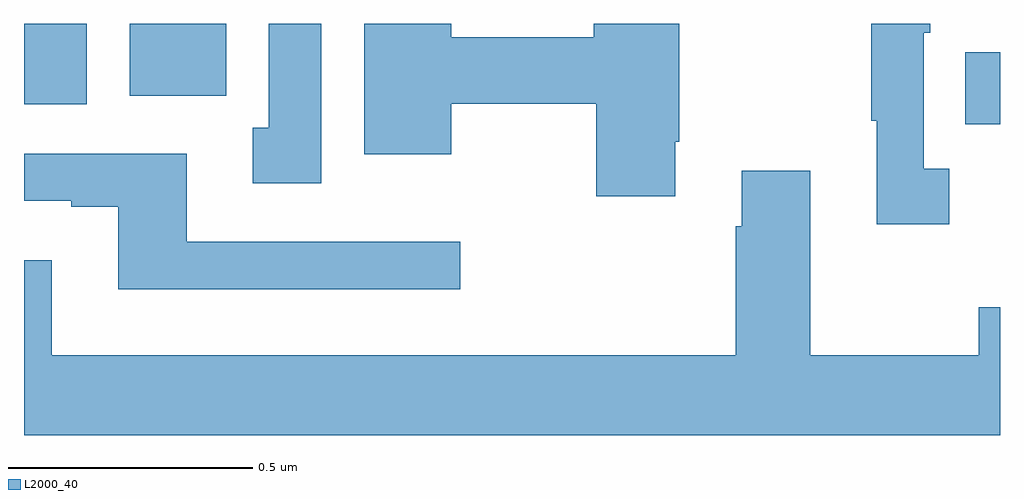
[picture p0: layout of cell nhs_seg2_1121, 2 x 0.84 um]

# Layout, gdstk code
import gdstk
lib = gdstk.Library(unit=1e-6, precision=1e-09)
def R(c, l, rs):  # rectangles x0, y0, x1, y1
    for r in rs: c.add(gdstk.rectangle(r[:2], r[2:], *l))
def P(c, l, *ps):  # polygons
    for p in ps: c.add(gdstk.Polygon(p, *l))
L2000_40 = (2000, 40)

nhs_seg2_1121 = lib.new_cell('nhs_seg2_1121')
R(nhs_seg2_1121, L2000_40, [(125.929,661.594,126,661.741), (124,661.635,124.129,661.8), (124.217,661.652,124.414,661.8)])
P(nhs_seg2_1121, L2000_40, [(124.609,661.8),(124.502,661.8),(124.502,661.586),(124.469,661.586),(124.469,661.473),(124.609,661.473)],
  [(125.896,661.502),(125.844,661.502),(125.844,661.781),(125.857,661.781),(125.857,661.8),(125.736,661.8),(125.736,661.601),(125.747,661.601),(125.747,661.389),(125.896,661.389)],
  [(125.335,661.558),(125.343,661.558),(125.343,661.8),(125.168,661.8),(125.168,661.772),(124.876,661.772),(124.876,661.8),(124.697,661.8),(124.697,661.532),(124.876,661.532),(124.876,661.636),(125.173,661.636),(125.173,661.446),(125.335,661.446)],
  [(124.894,661.353),(124.333,661.353),(124.333,661.533),(124,661.533),(124,661.437),(124.097,661.437),(124.097,661.425),(124.193,661.425),(124.193,661.256),(124.894,661.256)],
  [(126,661.219),(125.956,661.219),(125.956,661.12),(125.611,661.12),(125.611,661.498),(125.471,661.498),(125.471,661.385),(125.459,661.385),(125.459,661.12),(124.057,661.12),(124.057,661.315),(124,661.315),(124,660.956),(126,660.956)])

lib.write_gds('nhs_seg2_1121.gds')
